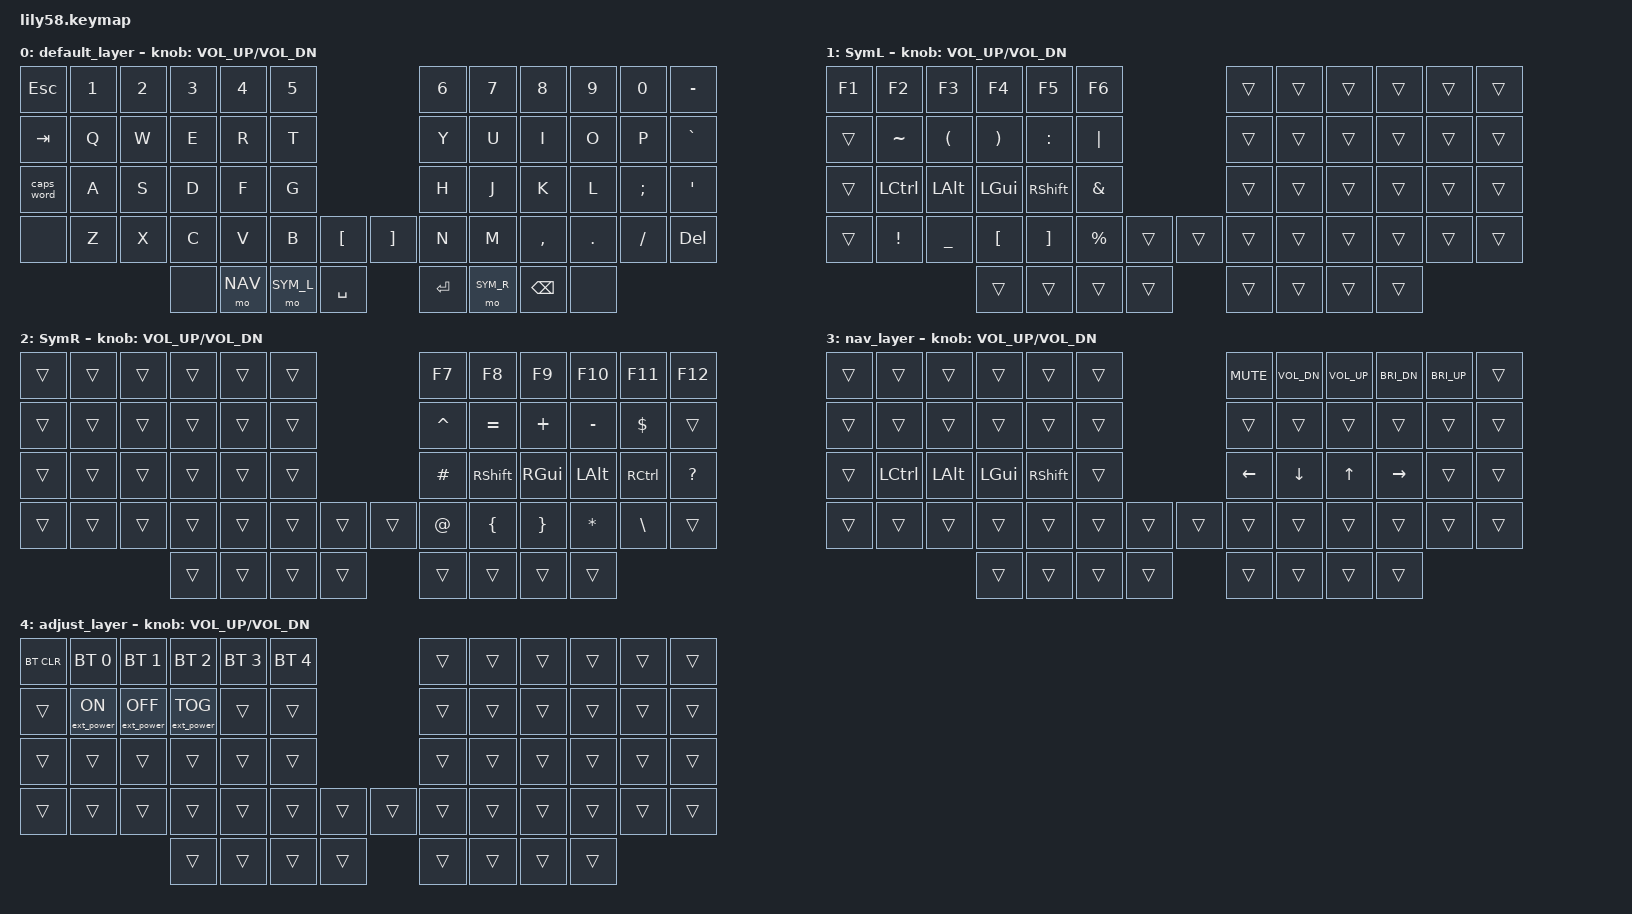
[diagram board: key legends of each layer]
/*
 * Copyright (c) 2020 The ZMK Contributors
 *
 * SPDX-License-Identifier: MIT
 */

#include <behaviors.dtsi>
#include <dt-bindings/zmk/keys.h>
#include <dt-bindings/zmk/bt.h>
#include <dt-bindings/zmk/ext_power.h>

// Layer numbers. Each conditional then-layer sits above its if-layers.
#define BASE     0
#define SYM_L    1
#define SYM_R    2
#define NAV      3
#define ADJUST   4

/ {
    combos {
        compatible = "zmk,combos";
        // U + I pressed together = Backspace
        combo_bspc {
            timeout-ms = <18>;
            key-positions = <19 20>;
            require-prior-idle-ms = <175>;
            layers = <0>;
            bindings = <&kp BSPC>;
        };

        // Q + W pressed together = Esc
        combo_esc {
            timeout-ms = <18>;
            key-positions = <13 14>;
            require-prior-idle-ms = <175>;
            layers = <0>;
            bindings = <&kp ESC>;
        };
    };

    conditional_layers {
        compatible = "zmk,conditional-layers";
        adjust {
            if-layers = <NAV SYM_R>;
            then-layer = <ADJUST>;
        };
    };

    keymap {
        compatible = "zmk,keymap";

        default_layer {
// ------------------------------------------------------------------------------------------------------------
// |  ESC  |  1  |  2  |  3   |  4   |  5   |                   |  6   |  7    |  8    |  9   |   0   |   -   |
// |  TAB  |  Q  |  W  |  E   |  R   |  T   |                   |  Y   |  U    |  I    |  O   |   P   |   `   |
// | CAPSW |  A  |  S  |  D   |  F   |  G   |                   |  H   |  J    |  K    |  L   |   ;   |   '   |
// |       |  Z  |  X  |  C   |  V   |  B   |   "["  |  |  "]"  |  N   |  M    |  ,    |  .   |   /   |  DEL  |
//                     |      | NAV  | SYML |  SPC   |  |  RET  | SYMR  | BSPC  |       |
            bindings = <
&kp ESC    &kp N1 &kp N2 &kp N3   &kp N4   &kp N5                     &kp N6 &kp N7   &kp N8    &kp N9  &kp N0   &kp MINUS
&kp TAB    &kp Q  &kp W  &kp E    &kp R    &kp T                      &kp Y  &kp U    &kp I     &kp O   &kp P    &kp GRAVE
&caps_word &kp A &kp S &kp D &kp F &kp G                          &kp H  &kp J &kp K &kp L &kp SEMI &kp SQT
&none      &kp Z  &kp X  &kp C    &kp V    &kp B  &kp LBKT   &kp RBKT &kp N  &kp M    &kp COMMA &kp DOT &kp FSLH &kp DEL
                        &none    &mo NAV  &mo SYM_L  &kp SPACE    &kp RET   &mo SYM_R  &kp BSPC  &none
            >;

            sensor-bindings = <&inc_dec_kp C_VOL_UP C_VOL_DN>;
        };

        sym_l_layer {
// ------------------------------------------------------------------------------------------------------------
// Left Sym thumb changes the left half only. The right half stays on the base layer,
// so the left home row modifiers reach every right-hand key.
// |  F1   |  F2 |  F3 |  F4  |  F5  |  F6  |                   |      |       |       |      |       |       |
// |       |  ~  |  (  |  )   |  :   |  |   |                   |      |       |       |      |       |       |
// |       | Ctl | Alt | Sup | RSft |  &   |                   |      |       |       |      |       |       |
// |       |  !  |  _  |  [   |  ]   |  %   |        |  |       |      |       |       |      |       |       |
//                     |      |      |      |        |  |       |      |       |       |
            display-name = "SymL";
            bindings = <
&kp F1 &kp F2    &kp F3    &kp F4    &kp F5    &kp F6                     &trans    &trans     &trans     &trans    &trans     &trans
&trans &kp TILDE &kp LPAR  &kp RPAR  &kp COLON &kp PIPE                   &trans    &trans     &trans     &trans    &trans     &trans
&trans &kp LCTRL &kp LALT  &kp LGUI  &kp RSHFT &kp AMPS                   &trans    &trans     &trans     &trans    &trans     &trans
&trans &kp EXCL  &kp UNDER &kp LBKT  &kp RBKT  &kp PRCNT &trans  &trans   &trans    &trans     &trans     &trans    &trans     &trans
                           &trans    &trans    &trans    &trans     &trans   &trans    &trans     &trans
            >;

            sensor-bindings = <&inc_dec_kp C_VOL_UP C_VOL_DN>;
        };

        sym_r_layer {
// ------------------------------------------------------------------------------------------------------------
// Right Sym thumb changes the right half only. The left half stays on the base layer,
// so the right home row modifiers reach every left-hand key.
// Outer top stays ` and outer bottom stays Del. The quote key is ? while this layer is held.
// * is the period key on this layer. : is SymL R.
// |       |     |     |      |      |      |                   |  F7  |  F8   |  F9   |  F10 |  F11  |  F12  |
// |       |     |     |      |      |      |                   |  ^   |  =    |  +    |  -   |   $   |       |
// |       |     |     |      |      |      |                   |  #   | RSft  | Sup  | Alt  | Ctrl  |   ?   |
// |       |     |     |      |      |      |        |  |       |  @   |  {    |  }    |  *   |   \   |       |
//                     |      |      |      |        |  |       |      |       |       |
            display-name = "SymR";
            bindings = <
&trans &trans    &trans    &trans    &trans    &trans                     &kp F7    &kp F8     &kp F9     &kp F10   &kp F11    &kp F12
&trans &trans    &trans    &trans    &trans    &trans                     &kp CARET &kp EQUAL  &kp PLUS   &kp MINUS &kp DOLLAR &trans
&trans &trans    &trans    &trans    &trans    &trans                     &kp HASH  &kp RSHFT  &kp RGUI   &kp LALT  &kp RCTRL  &kp QMARK
&trans &trans    &trans    &trans    &trans    &trans    &trans  &trans   &kp AT    &kp LBRC   &kp RBRC   &kp ASTRK &kp BSLH   &trans
                           &trans    &trans    &trans    &trans     &trans   &trans    &trans     &trans
            >;

            sensor-bindings = <&inc_dec_kp C_VOL_UP C_VOL_DN>;
        };

        nav_layer {
// ------------------------------------------------------------------------------------------------------------
// |       |     |     |      |      |      |                   | MUTE | VOL-  | VOL+  | BRI- | BRI+  |       |
// |       |     |     |      |      |      |                   |      |       |       |      |       |       |
// Left home row is Ctrl, Alt, Super, Right Shift while this layer is held.
// |       | Ctl | Alt | Sup | RSft |      |                   |  <-  |   v   |   ^   |  ->  |       |       |
// |       |     |     |      |      |      |        |  |       |      |       |       |      |       |       |
//                     |      |      |      |        |  |       |      |       |       |
            bindings = <
&trans    &trans &trans &trans  &trans  &trans                       &kp C_MUTE  &kp C_VOL_DN &kp C_VOL_UP &kp C_BRI_DN &kp C_BRI_UP &trans
&trans    &trans &trans &trans  &trans  &trans                       &trans      &trans    &trans    &trans   &trans    &trans
&trans    &kp LCTRL &kp LALT &kp LGUI &kp RSHFT &trans               &kp LEFT    &kp DOWN  &kp UP    &kp RIGHT &trans   &trans
&trans    &trans &trans &trans  &trans  &trans    &trans   &trans    &trans      &trans    &trans    &trans   &trans    &trans
                        &trans  &trans  &trans    &trans   &trans    &trans      &trans    &trans
            >;

            sensor-bindings = <&inc_dec_kp C_VOL_UP C_VOL_DN>;
        };

        adjust_layer {
// ------------------------------------------------------------------------------------------------------------
// Nav and right Sym held together.
// | BTCLR | BT1  | BT2  | BT3  |  BT4 |  BT5 |                   |      |       |       |      |       |       |
// |       |EP_ON |EP_OFF|EP_TOG|      |      |                   |      |       |       |      |       |       |
// |       |      |      |      |      |      |                   |      |       |       |      |       |       |
// |       |      |      |      |      |      |        |  |       |      |       |       |      |       |       |
//                       |      |      |      |        |  |       |      |       |       |
            bindings = <
&bt BT_CLR &bt BT_SEL 0     &bt BT_SEL 1      &bt BT_SEL 2      &bt BT_SEL 3 &bt BT_SEL 4                 &trans &trans &trans &trans &trans &trans
&trans     &ext_power EP_ON &ext_power EP_OFF &ext_power EP_TOG &trans       &trans                       &trans &trans &trans &trans &trans &trans
&trans     &trans           &trans            &trans            &trans       &trans                       &trans &trans &trans &trans &trans &trans
&trans     &trans           &trans            &trans            &trans       &trans    &trans   &trans    &trans &trans &trans &trans &trans &trans
                                              &trans            &trans       &trans    &trans   &trans    &trans &trans &trans
            >;

            sensor-bindings = <&inc_dec_kp C_VOL_UP C_VOL_DN>;
        };
    };
};
